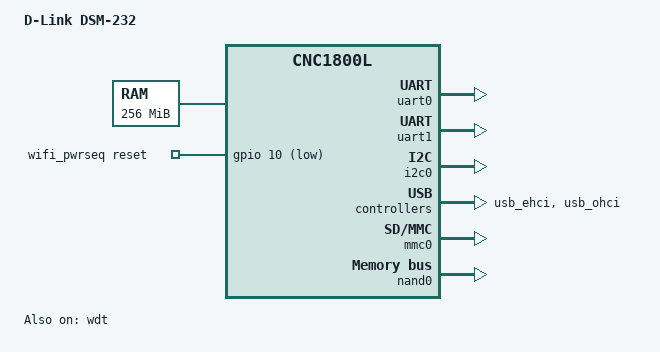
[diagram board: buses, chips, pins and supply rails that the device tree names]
// SPDX-License-Identifier: GPL-2.0
/*
 * cnc1800l-tigamini.dts - D-Link DSM-232 (Celestial CNC1800L, Tiga-Mini board)
 *
 * NAND partition layout reproduced from the vendor
 * arch/arm/mach-celestial/nand.c CONFIG_CELESTIAL_TIGA_MINI table (offsets
 * computed from the original MTDPART_OFS_APPEND sizes).
 */

/dts-v1/;
#include <dt-bindings/gpio/gpio.h>
#include "cnc1800l.dtsi"

/ {
	model = "D-Link DSM-232";
	compatible = "dlink,dsm-232", "celestial,cnc1800l";

	memory@0 {
		device_type = "memory";
		reg = <0x00000000 0x10000000>; /* 256 MiB */
	};

	chosen {
		bootargs = "console=ttyS0,115200n8 root=/dev/mtdblock18 rootfstype=jffs2";
		stdout-path = &uart0;
	};

	/*
	 * AR6000 SDIO Wi-Fi module reset, GPIO 10 (vendor
	 * mshci-cnc1800l.c: driven low then high before probing MSHCI).
	 */
	wifi_pwrseq: wifi-pwrseq {
		compatible = "mmc-pwrseq-simple";
		reset-gpios = <&gpio 10 GPIO_ACTIVE_LOW>;
		post-power-on-delay-ms = <1>;
	};
};

&uart0 {
	status = "okay";
};

&uart1 {
	status = "okay";
};

&i2c0 {
	status = "okay";
};

&gpio {
	status = "okay";
};

&pinctrl {
	status = "okay";
};

&clkc {
	status = "okay";
};

&usb_ehci {
	status = "okay";
};

&usb_ohci {
	status = "okay";
};

&wdt {
	status = "okay";
};

&mmc0 {
	mmc-pwrseq = <&wifi_pwrseq>;
	status = "okay";
};

&nand0 {
	status = "okay";

	partitions {
		compatible = "fixed-partitions";
		#address-cells = <1>;
		#size-cells = <1>;

		partition@0 {
			label = "cavm_miniloader";
			reg = <0x00000000 0x00020000>;
			read-only;
		};
		partition@20000 {
			label = "cavm_uboot1";
			reg = <0x00020000 0x00080000>;
			read-only;
		};
		partition@a0000 {
			label = "cavm_uboot1_pad";
			reg = <0x000a0000 0x00080000>;
		};
		partition@120000 {
			label = "cavm_nvram_factory";
			reg = <0x00120000 0x00020000>;
			read-only;
		};
		partition@140000 {
			label = "cavm_nvram_factory_pad";
			reg = <0x00140000 0x00020000>;
			read-only;
		};
		partition@160000 {
			label = "cavm_nvram1b";
			reg = <0x00160000 0x00020000>;
			read-only;
		};
		partition@180000 {
			label = "cavm_nvram2";
			reg = <0x00180000 0x00020000>;
		};
		partition@1a0000 {
			label = "cavm_nvram2b";
			reg = <0x001a0000 0x00020000>;
		};
		partition@1c0000 {
			label = "cavm_splash";
			reg = <0x001c0000 0x00200000>;
		};
		partition@3c0000 {
			label = "cavm_all_img1_info";
			reg = <0x003c0000 0x00020000>;
			read-only;
		};
		partition@3e0000 {
			label = "cavm_all_img1_info_pad";
			reg = <0x003e0000 0x00020000>;
			read-only;
		};
		partition@400000 {
			label = "cavm_netHD_Image1";
			reg = <0x00400000 0x02000000>;
			read-only;
		};
		partition@2400000 {
			label = "cavm_netHD_Image2";
			reg = <0x02400000 0x02000000>;
		};
		partition@4400000 {
			label = "cavm_free1";
			reg = <0x04400000 0x01380000>;
		};
		partition@5780000 {
			label = "cavm_free1_pad";
			reg = <0x05780000 0x00040000>;
		};
		partition@57c0000 {
			label = "cavm_netHD_img2_info";
			reg = <0x057c0000 0x00040000>;
		};
		partition@5800000 {
			label = "cavm_blob";
			reg = <0x05800000 0x00300000>;
			read-only;
		};
		partition@5b00000 {
			label = "cavm_uboot2";
			reg = <0x05b00000 0x00100000>;
			read-only;
		};
		partition@5c00000 {
			label = "cavm_ffs";
			reg = <0x05c00000 0x02000000>;
		};
		partition@7c00000 {
			label = "customer_area";
			reg = <0x07c00000 0x00400000>;
		};
	};
};
